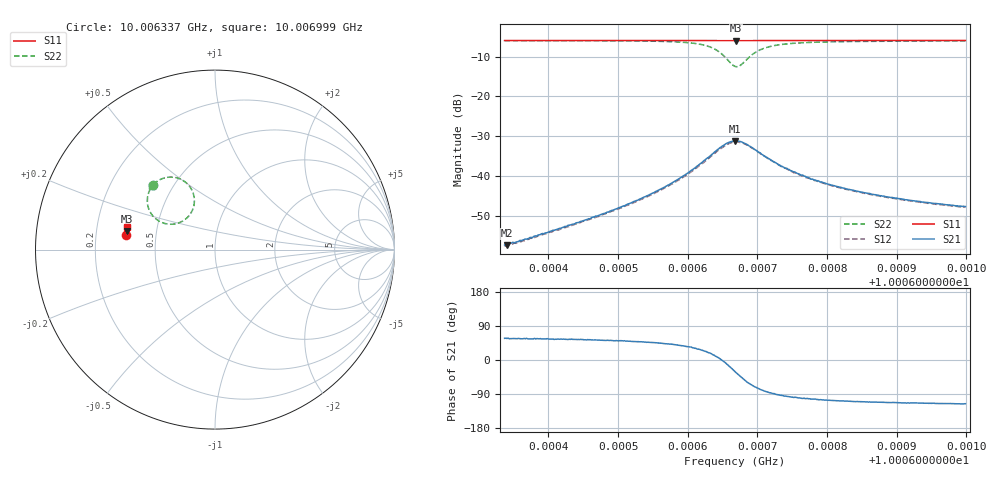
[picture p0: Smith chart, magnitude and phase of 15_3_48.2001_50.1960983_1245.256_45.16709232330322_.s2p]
#  HZ  S  RI  R  50.00
! Rohde & Schwarz Vector Network Analyzer
! Rohde-Schwarz,ZNB20-2Port,1311601062101988,3.16
! Created: UTC 3/20/2024, 11:36:43 AM
! freq[Hz]  re:S11  im:S11  re:S21  im:S21  re:S12  im:S12  re:S22  im:S22
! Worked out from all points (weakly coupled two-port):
!   401 points, 10.006337 GHz to 10.006999 GHz, reference 50 ohm
!   highest |S21| = -31.19 dB at 10.006668 GHz (marker M1); lowest = -57.4 dB at 10.00634 GHz (marker M2)
!   lowest |S11| = -6.0 dB at 10.00667 GHz (marker M3), VSWR 3.00, Z = 16.8 + j4.67 ohm
!   |S11| at or under -10 dB: nowhere
!   |S22| runs from -12.5 to -6.0 dB; largest |S21 - S12| = 0.0024
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1.00063372e10  -0.4953 0.0839  0.000737 0.00114  0.000648 0.00115  -0.3449 0.3623
1.00063405e10  -0.4952 0.0842  0.000738 0.00113  0.000671 0.00116  -0.3445 0.3628
1.0006448e10  -0.4941 0.0912  0.00159 0.0022  0.00147 0.00222  -0.3294 0.3757
1.00065042e10  -0.4933 0.0949  0.00257 0.00318  0.00238 0.00317  -0.3154 0.385
1.00065587e10  -0.4928 0.0986  0.00476 0.00469  0.00441 0.00476  -0.2894 0.3969
1.00065935e10  -0.492 0.1011  0.00797 0.00605  0.00742 0.0062  -0.2551 0.4037
1.00066282e10  -0.4909 0.1035  0.0158 0.00592  0.0147 0.00663  -0.1829 0.3878
1.00066414e10  -0.4901 0.1042  0.0206 0.00322  0.0198 0.00412  -0.1424 0.3531
1.0006653e10  -0.4894 0.1044  0.0247 -0.0024  0.0238 -0.000806  -0.1162 0.293
1.00066613e10  -0.4891 0.1043  0.0254 -0.00875  0.0251 -0.00662  -0.1203 0.2344
1.00066679e10  -0.4891 0.1043  0.0237 -0.0141  0.024 -0.0118  -0.1445 0.189
1.00066695e10  -0.4891 0.1041  0.0229 -0.0152  0.0235 -0.013  -0.1535 0.1792
1.00066761e10  -0.4893 0.1042  0.0193 -0.019  0.0201 -0.0171  -0.1959 0.1511
1.00066861e10  -0.4899 0.1044  0.0125 -0.0212  0.014 -0.0199  -0.2627 0.1421
1.00066976e10  -0.4904 0.1049  0.00662 -0.0201  0.00781 -0.0195  -0.3193 0.1636
1.00067125e10  -0.4906 0.1062  0.00199 -0.0172  0.00303 -0.017  -0.3567 0.2018
1.00067489e10  -0.4907 0.109  -0.00148 -0.0115  -0.000957 -0.0114  -0.3771 0.2664
1.00067787e10  -0.4905 0.1111  -0.00207 -0.00894  -0.00183 -0.00883  -0.3754 0.2939
1.00068266e10  -0.4899 0.1145  -0.00217 -0.0066  -0.00186 -0.00659  -0.3688 0.3186
1.00068895e10  -0.4892 0.1186  -0.00206 -0.00503  -0.00174 -0.00502  -0.3609 0.336
1.00069391e10  -0.4885 0.1216  -0.00192 -0.00429  -0.00169 -0.00431  -0.3557 0.3448
1.00069986e10  -0.4876 0.1256  -0.00178 -0.00374  -0.00158 -0.00373  -0.3505 0.3528
